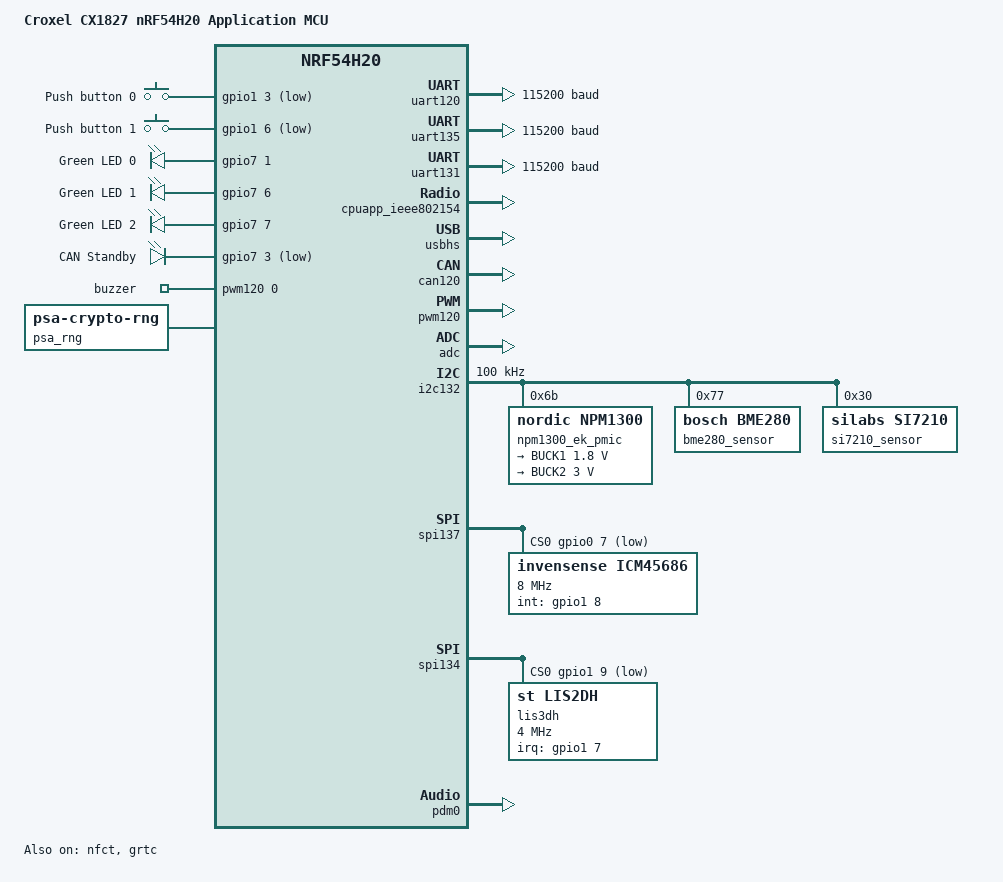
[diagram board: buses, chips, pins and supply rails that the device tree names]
/*
 * Copyright (c) 2024 Nordic Semiconductor ASA
 *
 * SPDX-License-Identifier: Apache-2.0
 */

/dts-v1/;

#include <nordic/nrf54h20_cpuapp.dtsi>
#include "croxel_cx1827_nrf54h20-common.dtsi"

/delete-node/ &cpurad_cpusys_ipc;
/delete-node/ &cpusec_cpurad_ipc;

/ {
	compatible = "croxel,cx1827-nrf54h20-cpuapp";
	model = "Croxel CX1827 nRF54H20 Application MCU";

	chosen {
		zephyr,console = &cdc_acm_uart0;
		zephyr,code-partition = &cpuapp_slot0_partition;
		zephyr,flash = &mram1x;
		zephyr,sram = &cpuapp_data;
		zephyr,shell-uart = &cdc_acm_uart0;
		zephyr,uart-mcumgr = &cdc_acm_uart0;
		zephyr,ieee802154 = &cpuapp_ieee802154;
		zephyr,bt-hci = &bt_hci_ipc0;
		nordic,802154-spinel-ipc = &ipc0;
		zephyr,canbus = &can120;
		zephyr,entropy = &psa_rng;
	};

	aliases {
		buzzer = &buzzer;
		can-stb = &can_stb;
		led0 = &led0;
		led1 = &led1;
		led2 = &led2;
		resetinfo = &cpuapp_resetinfo;
		sw0 = &button0;
		sw1 = &button1;
		ipc-to-cpusys = &cpuapp_cpusys_ipc;
		watchdog0 = &wdt010;
		mcuboot-button0 = &button0;
		mcuboot-led0 = &led0;
	};

	buttons {
		compatible = "gpio-keys";

		button0: button_0 {
			gpios = <&gpio1 3 (GPIO_PULL_UP | GPIO_ACTIVE_LOW)>;
			label = "Push button 0";
			zephyr,code = <INPUT_KEY_0>;
		};

		button1: button_1 {
			gpios = <&gpio1 6 (GPIO_PULL_UP | GPIO_ACTIVE_LOW)>;
			label = "Push button 1";
			zephyr,code = <INPUT_KEY_1>;
		};
	};

	leds {
		compatible = "gpio-leds";

		led0: led_0 {
			gpios = <&gpio7 1 GPIO_ACTIVE_HIGH>;
			label = "Green LED 0";
		};

		led1: led_1 {
			gpios = <&gpio7 6 GPIO_ACTIVE_HIGH>;
			label = "Green LED 1";
		};

		led2: led_2 {
			gpios = <&gpio7 7 GPIO_ACTIVE_HIGH>;
			label = "Green LED 2";
		};

		can_stb: can_stb {
			gpios = <&gpio7 3 GPIO_ACTIVE_LOW>;
			label = "CAN Standby";
		};
	};

	pwmleds {
		compatible = "pwm-leds";

		buzzer: buzzer {
			pwms = <&pwm120 0 PWM_HZ(4000) PWM_POLARITY_NORMAL>;
		};
	};

	psa_rng: psa-rng {
		compatible = "zephyr,psa-crypto-rng";
		status = "okay";
	};
};

&cpuapp_bellboard {
	status = "okay";
	interrupts = <96 NRF_DEFAULT_IRQ_PRIORITY>;
	interrupt-names = "irq0";
	/* irq0:
	 *  - 0:  cpuapp-cpusec
	 *  - 6:  cpuapp-cpusys
	 *  - 13: cpuapp-cpuppr
	 *  - 14: cpuapp-cpuflpr
	 *  - 18: cpuapp-cpurad
	 */
	nordic,interrupt-mapping = <0x00046041 0>;
};

&cpurad_bellboard {
	status = "okay";
};

&cpusys_vevif {
	status = "okay";
};

&cpusec_cpuapp_ipc {
	status = "okay";
	mbox-names = "tx", "rx";
};

&cpusec_bellboard {
	status = "okay";
};

ipc0: &cpuapp_cpurad_ipc {
	status = "okay";
	mbox-names = "rx", "tx";
	tx-region = <&cpuapp_cpurad_ipc_shm>;
	rx-region = <&cpurad_cpuapp_ipc_shm>;
	tx-blocks = <32>;
	rx-blocks = <32>;

	bt_hci_ipc0: bt_hci_ipc0 {
		compatible = "zephyr,bt-hci-ipc";
		status = "okay";
	};
};

&cpuapp_cpusys_ipc {
	status = "okay";
	mbox-names = "rx", "tx";
	tx-region = <&cpuapp_cpusys_ipc_shm>;
	rx-region = <&cpusys_cpuapp_ipc_shm>;
};

&cpuapp_cpuppr_ipc {
	mbox-names = "rx", "tx";
	tx-region = <&cpuapp_cpuppr_ipc_shm>;
	rx-region = <&cpuppr_cpuapp_ipc_shm>;
};

&cpuapp_cpuflpr_ipc {
	mbox-names = "rx", "tx";
	tx-region = <&cpuapp_cpuflpr_ipc_shm>;
	rx-region = <&cpuflpr_cpuapp_ipc_shm>;
};

&cpuapp_dma_region {
	status = "okay";
};

&dma_fast_region {
	status = "okay";
};

ironside_se_boot_report: &cpuapp_ironside_se_boot_report {};

boot_partition: &cpuapp_boot_partition {
	label = "mcuboot";
};

slot0_partition: &cpuapp_slot0_partition {
	label = "image-0";
};

secondary_app_partition: &cpuapp_slot1_partition {};

slot1_partition: &cpuapp_slot1_partition {
	label = "image-1";
};

slot2_partition: &cpurad_slot0_partition {
	label = "image-2";
};

slot3_partition: &cpurad_slot1_partition {
	label = "image-3";
};

&cpuppr_vpr {
	execution-memory = <&cpuppr_code_data>;
	source-memory = <&cpuppr_code_partition>;
};

&cpuflpr_vpr {
	execution-memory = <&cpuflpr_code_data>;
	source-memory = <&cpuflpr_code_partition>;
};

&nfct {
	status = "okay";
	memory-regions = <&cpuapp_dma_region>;
};

/* Leave one channel for CPURAD */
&gpiote130 {
	status = "okay";
	owned-channels = <0 1 2 3 4 5 6>;
};

&gpio0 {
	status = "okay";
};

&gpio1 {
	status = "okay";
};

&gpio2 {
	status = "okay";
};

&gpio7 {
	status = "okay";
};

&gpio9 {
	status = "okay";
};

&grtc {
	status = "okay";
	child-owned-channels = <5 6>;
	nonsecure-channels = <5 6>;
	owned-channels = <4 5 6>;
};

&uart120 {
	current-speed = <115200>;
	pinctrl-0 = <&uart120_default>;
	pinctrl-1 = <&uart120_sleep>;
	pinctrl-names = "default", "sleep";
};

&uart135 {
	current-speed = <115200>;
	pinctrl-0 = <&uart135_default>;
	pinctrl-1 = <&uart135_sleep>;
	pinctrl-names = "default", "sleep";
};

&uart131 {
	status = "okay";
	memory-regions = <&cpuapp_dma_region>;
	current-speed = <115200>;
	pinctrl-0 = <&uart131_default>;
	pinctrl-1 = <&uart131_sleep>;
	pinctrl-names = "default", "sleep";
};

&gpio6 {
	status = "okay";
};

&exmif {
	pinctrl-0 = <&exmif_default>;
	pinctrl-1 = <&exmif_sleep>;
	pinctrl-names = "default", "sleep";
	status = "disabled";

	mx25uw63: mx25uw6345g@0 {
		compatible = "mxicy,mx25u", "jedec,mspi-nor";
		status = "disabled";
		reg = <0>;
		jedec-id = [c2 84 37];
		sfdp-bfp = [
			e5 20 8a ff  ff ff ff 03  00 ff 00 ff  00 ff 00 ff
			ee ff ff ff  ff ff 00 ff  ff ff 00 ff  0c 20 10 d8
			00 ff 00 ff  87 79 01 00  84 12 00 c4  cc 04 67 46
			30 b0 30 b0  f4 bd d5 5c  00 00 00 ff  10 10 00 20
			00 00 00 00  00 00 7c 23  48 00 00 00  00 00 88 88
		];
		sfdp-ff05 = [
			00 ee c0 69  72 72 71 71  00 d8 f7 f6  00 0a 00 00
			14 45 98 80
		];
		sfdp-ff84 = [
			43 06 0f 00  21 dc ff ff
		];
		size = <67108864>;
		has-dpd;
		t-enter-dpd = <10000>;
		t-exit-dpd = <30000>;
		reset-gpios = <&gpio6 12 GPIO_ACTIVE_LOW>;
		t-reset-pulse = <10000>;
		t-reset-recovery = <35000>;

		mspi-max-frequency = <DT_FREQ_M(50)>;
		mspi-io-mode = "MSPI_IO_MODE_OCTAL";
		mspi-data-rate = "MSPI_DATA_RATE_SINGLE";
		mspi-hardware-ce-num = <1>;
		mspi-cpp-mode = "MSPI_CPP_MODE_0";
		mspi-endian = "MSPI_BIG_ENDIAN";
		mspi-ce-polarity = "MSPI_CE_ACTIVE_LOW";
	};
};

&cpuapp_ieee802154 {
	status = "okay";
};

zephyr_udc0: &usbhs {
	status = "okay";
	cdc_acm_uart0: cdc_acm_uart0 {
		compatible = "zephyr,cdc-acm-uart";
		status = "okay";
	};
};

&canpll {
	status = "okay";
};

&can120 {
	status = "okay";
	pinctrl-0 = <&can120_default>;
	pinctrl-names = "default";
};

&pwm120 {
	status = "okay";
	pinctrl-0 = <&pwm120_default>;
	pinctrl-1 = <&pwm120_sleep>;
	pinctrl-names = "default", "sleep";
	memory-regions = <&dma_fast_region>;
};

&adc {
	memory-regions = <&cpuapp_dma_region>;
	status = "okay";
};

/* Trim this RAM block for power management related features. */
&cpuapp_ram0 {
	reg = <0x22000000 (DT_SIZE_K(32) - 256)>;
	ranges = <0x0 0x22000000 (0x8000 - 0x100)>;
};

/ {
	soc {
		/* cache control functions - must be executed from local SRAM */
		pm_ramfunc: cpuapp_s2ram@22007f00 {
			compatible = "zephyr,memory-region", "mmio-sram";
			reg = <0x22007f00 192>;
			zephyr,memory-region = "PMLocalRamfunc";
		};

		/* temporary stack for S2RAM resume logic */
		pm_s2ram_stack: cpuapp_s2ram_stack@22007fc8  {
			compatible = "zephyr,memory-region", "mmio-sram";
			reg = <0x22007fc8 16>;
			zephyr,memory-region = "pm_s2ram_stack";
		};

		/* run-time common mcuboot S2RAM support section */
		mcuboot_s2ram: cpuapp_s2ram@22007fd8  {
			compatible = "zephyr,memory-region", "mmio-sram";
			reg = <0x22007fd8 8>;
			zephyr,memory-region = "mcuboot_s2ram_context";
		};

		/* run-time common S2RAM cpu context RAM */
		pm_s2ram: cpuapp_s2ram@22007fe0 {
			compatible = "zephyr,memory-region", "mmio-sram";
			reg = <0x22007fe0 32>;
			zephyr,memory-region = "pm_s2ram_context";
		};
	};
};

&i2c132 {
	compatible = "nordic,nrf-twim";
	status = "okay";
	pinctrl-1 = <&i2c132_sleep>;
	pinctrl-0 = <&i2c132_default>;
	pinctrl-names = "default", "sleep";
	clock-frequency = <I2C_BITRATE_STANDARD>;
	zephyr,concat-buf-size = <1024>;
	memory-regions = <&cpuapp_dma_region>;

	npm1300_ek_pmic: pmic@6b {
		compatible = "nordic,npm1300";
		reg = <0x6b>;
		pmic_charger: charger {
			compatible = "nordic,npm1300-charger";
			term-microvolt = <4150000>;
			term-warm-microvolt = <4000000>;
			current-microamp = <150000>;
			dischg-limit-microamp = <1000000>;
			vbus-limit-microamp = <500000>;
			thermistor-ohms = <0>;
			thermistor-beta = <3380>;
			charging-enable;
		};
		pmic_regulators: regulators {
			compatible = "nordic,npm1300-regulator";
			BUCK1 {
				regulator-min-microvolt = <1800000>;
				regulator-max-microvolt = <1800000>;
				regulator-boot-on;
			};
			BUCK2 {
				regulator-min-microvolt = <3000000>;
				regulator-max-microvolt = <3000000>;
				regulator-boot-on;
			};
		};

		npm1300_ek_leds: leds {
			compatible = "nordic,npm1300-led";
			nordic,led0-mode = "error";
			nordic,led1-mode = "charging";
			nordic,led2-mode = "host";
		};
	};

	bme280_sensor: bme280@77 {
		compatible = "bosch,bme280";
		reg = <0x77>;
		status = "okay";
	};

	si7210_sensor: si7210@30 {
		compatible = "silabs,si7210";
		reg = <0x30>;
	};
};

#include <zephyr/dt-bindings/sensor/icm45686.h>

&spi137 {
	status = "okay";
	pinctrl-0 = <&spi137_default>;
	pinctrl-1 = <&spi137_sleep>;
	pinctrl-names = "default", "sleep";
	memory-regions = <&cpuapp_dma_region>;
	cs-gpios = <&gpio0 7 (GPIO_ACTIVE_LOW | GPIO_PULL_UP)>;
	icm45686: icm45686@0 {
		status = "okay";
		compatible = "invensense,icm45686";
		reg = <0>;
		spi-max-frequency = <8000000>;
		int-gpios = <&gpio1 8 GPIO_ACTIVE_HIGH>;
		accel-pwr-mode = <ICM45686_DT_ACCEL_LN>;
		accel-fs = <ICM45686_DT_ACCEL_FS_8>;
		accel-odr = <ICM45686_DT_ACCEL_ODR_100>;
		gyro-pwr-mode= <ICM45686_DT_GYRO_LN>;
		gyro-fs = <ICM45686_DT_GYRO_FS_4000>;
		gyro-odr = <ICM45686_DT_GYRO_ODR_100>;
		fifo-watermark = <10>;
	};
};

&spi134 {
	status = "okay";
	pinctrl-0 = <&spi134_default>;
	pinctrl-1 = <&spi134_sleep>;
	pinctrl-names = "default", "sleep";
	memory-regions = <&cpuapp_dma_region>;
	cs-gpios = <&gpio1 9 (GPIO_ACTIVE_LOW | GPIO_PULL_UP)>;
	lis3dh: lis3dh@0{
		compatible = "st,lis2dh";
		reg = <0>;
		irq-gpios = <&gpio1 7 GPIO_ACTIVE_HIGH>;//, <&gpio0 17 GPIO_ACTIVE_HIGH>;
		spi-max-frequency = <4000000>;
	};
};

&spi133 {
	status = "disabled";
	pinctrl-0 = <&spi133_default>;
	pinctrl-1 = <&spi133_sleep>;
	pinctrl-names = "default", "sleep";
	memory-regions = <&cpuapp_dma_region>;
	cs-gpios = <&gpio2 7 (GPIO_ACTIVE_LOW)>;
};

&i2c133 {
	compatible = "nordic,nrf-twim";
	status = "disabled";
	pinctrl-1 = <&i2c133_sleep>;
	pinctrl-0 = <&i2c133_default>;
	pinctrl-names = "default", "sleep";
	clock-frequency = <I2C_BITRATE_STANDARD>;
	memory-regions = <&cpuapp_dma_region>;
};

dmic_dev: &pdm0 {
	status = "okay";
	pinctrl-0 = <&pdm0_default>;
	memory-regions = <&dma_fast_region>;
	pinctrl-names = "default";
	clock-source = "PCLK32M";
};
